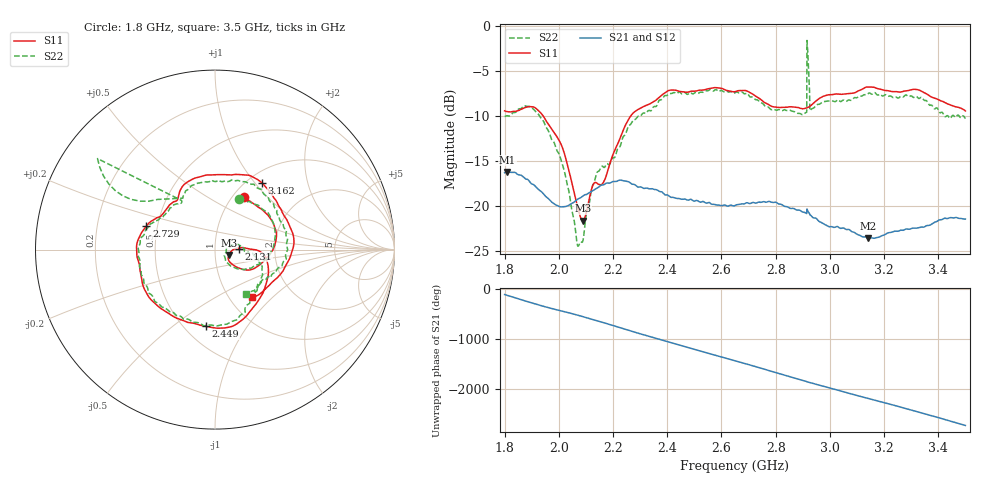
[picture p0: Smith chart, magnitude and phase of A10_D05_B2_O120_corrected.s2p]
! Created with skrf 1.9.0 (http://scikit-rf.org).
# Hz S RI R 50.0
!freq ReS11 ImS11 ReS21 ImS21 ReS12 ImS12 ReS22 ImS22
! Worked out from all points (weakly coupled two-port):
!   1601 points, 1.8 GHz to 3.5 GHz, reference 50 ohm
!   highest |S21| = -16.23 dB at 1.811 GHz (marker M1); lowest = -23.6 dB at 3.142 GHz (marker M2)
!   lowest |S11| = -21.6 dB at 2.089 GHz (marker M3), VSWR 1.18, Z = 58.2 - j3.59 ohm
!   |S11| at or under -10 dB: 1.942 GHz to 2.266 GHz (323.8 MHz wide, 15.4 % of centre)
!   |S22| runs from -24.5 to -1.6 dB; largest |S21 - S12| = 0.0028
!   S11 on the Smith chart (normalised r, x): 1.8 GHz: 1.13, +0.75; 2.131 GHz: 1.31, +0.02; 2.449 GHz: 0.63, -0.67; 2.729 GHz: 0.43, +0.14; 3.162 GHz: 1.16, +1.09; 3.5 GHz: 1.26, -0.76
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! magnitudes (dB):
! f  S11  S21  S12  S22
! 1.8 GHz  -9.5  -16.3  -16.3  -10.1
! 1.811 GHz  -9.6  -16.2  -16.2  -10.0
! 1.881 GHz  -9.0  -17.0  -17.0  -8.9
! 1.941 GHz  -10.0  -18.6  -18.6  -10.5
! 2.013 GHz  -13.5  -20.1  -20.1  -15.4
! 2.068 GHz  -19.9  -19.3  -19.3  -24.2
! 2.084 GHz  -21.5  -19.0  -19.0  -24.0
! 2.089 GHz  -21.6  -18.9  -18.9  -23.8
! 2.131 GHz  -17.4  -18.2  -18.2  -17.3
! 2.167 GHz  -17.3  -17.6  -17.6  -15.7
! 2.268 GHz  -9.9  -17.5  -17.5  -10.8
! 2.367 GHz  -8.0  -18.3  -18.3  -8.4
! 2.449 GHz  -7.3  -19.2  -19.2  -7.4
! 2.65 GHz  -7.3  -20.0  -19.9  -7.5
! 2.729 GHz  -7.9  -19.7  -19.7  -8.2
! 2.903 GHz  -9.2  -20.7  -20.7  -9.8
! 2.924 GHz  -9.0  -20.8  -20.8  -6.8
! 2.934 GHz  -8.8  -21.2  -21.2  -9.2
! 3.142 GHz  -6.8  -23.6  -23.5  -7.5
! 3.162 GHz  -6.8  -23.6  -23.5  -7.5
! 3.217 GHz  -7.2  -23.0  -23.0  -7.8
! 3.5 GHz  -9.5  -21.5  -21.5  -10.3
